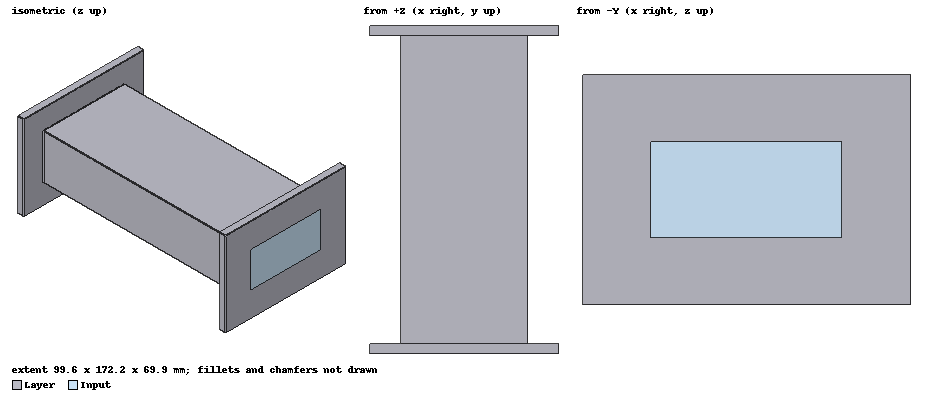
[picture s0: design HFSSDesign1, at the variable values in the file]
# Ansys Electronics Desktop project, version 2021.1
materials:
  vacuum: permittivity=1
  air: permittivity=1.0006 permeability=1.0000004
  aluminum: permeability=1.000021 conductivity=38000000
  silver: permeability=0.99998 conductivity=61000000

design HFSSDesign1 (HFSS, DrivenModal, model units mm)
options: Save_Adaptive_support_files
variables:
  a = 58mm
  b = 29.08mm
  d = 59mm
  s = 5.09280226mm
  t = 10mm
  de1 = 33.255mm  # optimise 16.525mm..49.575mm
  de2 = 33.255mm  # optimise 16.525mm..49.575mm
  i12 = 24.041mm  # optimise 14.02mm..42.06mm
  i23 = 22.458mm  # optimise 12.975mm..38.925mm
  i34 = 24.043mm  # optimise 13.515mm..40.545mm
  l1 = (20.0 + 5.0045439302921295) mm
  l2 = (18.0 + 13.0) mm  # optimise 15mm..45mm
  l3 = l2
  l4 = l1
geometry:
  Layer [aluminum] = box(corner=(-(d+8mm)/2, -5/2*t-l1-l2-s, -(b+8mm)/2), size=((d+8mm), l1+l2+l3+l4+5*t+2*s, (b+8mm)))
  Box4 = box(corner=(-99.6mm/2, -5/2*t-l1-l2, -69.9mm/2), size=(99.6mm, -s, 69.9mm))
  Box5 = box(corner=(-99.6mm/2, 5/2*t+l3+l4, -69.9mm/2), size=(99.6mm, s, 69.9mm))
  Layer.unite(Box4, Box5)
  Input [air] = box(corner=(-a/2, -t*5/2-l2-l1, -b/2), size=(a, -s, b))
  Input.fillet(Edges=Input.edge(1 of 12, 3 of 12, 7 of 12, 5 of 12) Radius=1.5mm Setback=0mm)
  Iris12 = box(corner=(-i12/2, -t/2-l2, -b/2), size=(i12, -t, b))
  Iris23 = box(corner=(-i23/2, -t/2, -b/2), size=(i23, t, b))
  Iris34 = box(corner=(-i34/2, t/2+l3, -b/2), size=(i34, t, b))
  IrisIn = box(corner=(-de1/2, -t*3/2-l2-l1, -b/2), size=(de1, -t, b))
  IrisOut = box(corner=(-de2/2, t*3/2+l3+l4, -b/2), size=(de2, t, b))
  Output = box(corner=(-a/2, t*5/2+l3+l4, -b/2), size=(a, s, b))
  Output.fillet(Edges=Input.edge(7 of 12, 3 of 12, 5 of 12, 1 of 12) Radius=1.5mm Setback=0mm)
  Resonator1 = box(corner=(-d/2, -t*3/2-l2, -b/2), size=(d, -l1, b))
  Resonator2 = box(corner=(-d/2, -t/2, -b/2), size=(d, -l2, b))
  Resonator3 = box(corner=(-d/2, t/2, -b/2), size=(d, l3, b))
  Resonator4 = box(corner=(-d/2, t*3/2+l3, -b/2), size=(d, l4, b))
  Input.unite(Iris12, Iris23, Iris34, IrisIn, IrisOut, Output, Resonator1..Resonator4)
  Input_1 = Input.copy()
  Layer.subtract(Input_1)
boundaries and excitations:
  FiniteCond1: Finite Conductivity Objects=Layer UseMaterial Material=silver IsInternal
  1: Wave Port Faces=Input.face(-y) NumModes=1 Modes{Mode1{IntLine{middle of Input.edge(6 of 12) -> middle of Input.edge(4 of 12)} CharImp=Zpi}}
  2: Wave Port Faces=Input.face(5 of 6) NumModes=1 DeembedDist=0mm Modes{Mode1{IntLine{middle of Input.edge(8 of 12) -> middle of Input.edge(2 of 12)} CharImp=Zpi}}
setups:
  Setup1: HfssDriven Frequency=4.65GHz MaxDeltaS=0.02 MaximumPasses=6 MinimumPasses=1 MinimumConvergedPasses=1 PercentRefinement=30 BasisOrder=1 PortAccuracy=2
    sweep Sweep: 3GHz to 6GHz, 401 points; Type=Fast SaveFields
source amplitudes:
  1:1: 1W 0deg
  2:1: 0W 0deg
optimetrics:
  OptimizationSetup1: Optimization disabled Optimizer="Quasi Newton" AnalysisStopOptions{StopForNumIteration MaxNumIteration=1000 MinNumIteration=10} CostFuncNormType=L2 Acceptable_Cost=0 Noise=0.0001 UpdateDesignWhenDone
    vary de1: Min=16.525mm Max=49.575mm MinStep=0mm MaxStep=0.5mm MinFocus=16.525mm MaxFocus=49.575mm start=30.6mm
    vary de2: Min=16.525mm Max=49.575mm MinStep=0mm MaxStep=1mm MinFocus=16.525mm MaxFocus=49.575mm start=30.6mm
    vary i12: Min=14.02mm Max=42.06mm MinStep=0mm MaxStep=0.5mm MinFocus=14.02mm MaxFocus=42.06mm start=22.58mm
    vary i23: Min=12.975mm Max=38.925mm MinStep=0mm MaxStep=0.5mm MinFocus=12.975mm MaxFocus=38.925mm start=21.79mm
    vary i34: Min=13.515mm Max=40.545mm MinStep=0mm MaxStep=0.5mm MinFocus=13.515mm MaxFocus=40.545mm start=22.58mm
    vary l2: Min=15mm Max=45mm MinStep=0mm MaxStep=1mm MinFocus=15mm MaxFocus=45mm
    goal dB(S(1,1)) <= -20 weight 1 on Setup1 : Sweep at Freq 4.495GHz to 4.805GHz
    goal dB(S(2,1)) <= -30 weight 1 on Setup1 : Sweep at Freq 2.325GHz to 4.3GHz
    goal dB(S(2,1)) <= -30 weight 1 on Setup1 : Sweep at Freq 5GHz to 6.975GHz
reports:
  S Parameter Plot 1: dB(S(1,1)), dB(S(2,1)) vs Freq on Setup1 : Sweep
  Design Plot 1: Volume(Layer) vs Freq on Setup1 : LastAdaptive [Phase=0deg]
  Design Table 1: Volume(Layer) vs Freq on Setup1 : LastAdaptive [Phase=0deg]
